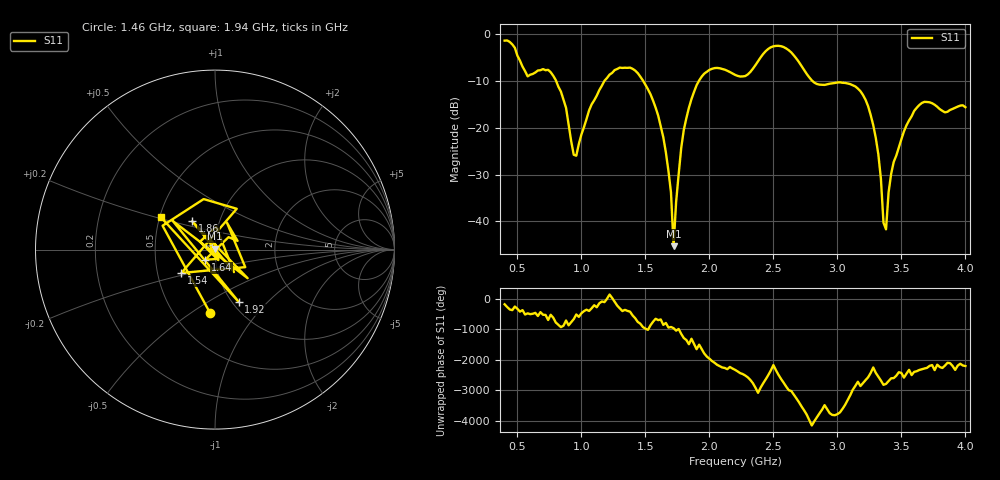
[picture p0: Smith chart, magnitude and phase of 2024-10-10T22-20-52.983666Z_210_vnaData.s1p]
! Created with skrf (http://scikit-rf.org).
# Hz S RI R 50.0
!freq ReS11 ImS11
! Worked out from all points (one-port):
!   181 points, 400 MHz to 4 GHz, reference 50 ohm
!   lowest |S11| = -45.3 dB at 1.72 GHz (marker M1), VSWR 1.01, Z = 49.8 + j0.481 ohm
!   |S11| at or under -10 dB: 802.6 MHz to 1.179 GHz (376.7 MHz wide, 38 % of centre); 1.483 GHz to 1.918 GHz (434.8 MHz wide, 25.6 % of centre); 2.805 GHz to end of sweep
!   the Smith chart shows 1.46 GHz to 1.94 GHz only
!   S11 on the Smith chart (normalised r, x): 1.46 GHz: 0.74, -0.59; 1.54 GHz: 0.66, -0.18; 1.64 GHz: 0.89, -0.10; 1.86 GHz: 0.74, +0.24; 1.92 GHz: 1.07, -0.70; 1.94 GHz: 0.51, +0.21
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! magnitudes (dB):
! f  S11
! 400 MHz  -1.4
! 580 MHz  -9.0
! 760 MHz  -8.1
! 860 MHz  -14.0
! 960 MHz  -26.0
! 1.08 GHz  -15.0
! 1.3 GHz  -7.1
! 1.46 GHz  -9.1
! 1.54 GHz  -12.8
! 1.64 GHz  -22.1
! 1.7 GHz  -33.9
! 1.72 GHz  -45.3
! 1.76 GHz  -29.9
! 1.86 GHz  -13.9
! 1.92 GHz  -9.9
! 1.94 GHz  -9.1
! 2.2 GHz  -8.7
! 2.5 GHz  -2.6
! 2.66 GHz  -4.5
! 2.84 GHz  -10.6
! 3.1 GHz  -10.7
! 3.28 GHz  -19.4
! 3.36 GHz  -40.3
! 3.38 GHz  -41.7
! 3.42 GHz  -29.8
! 3.56 GHz  -18.4
! 3.68 GHz  -14.5
! 4 GHz  -15.6
